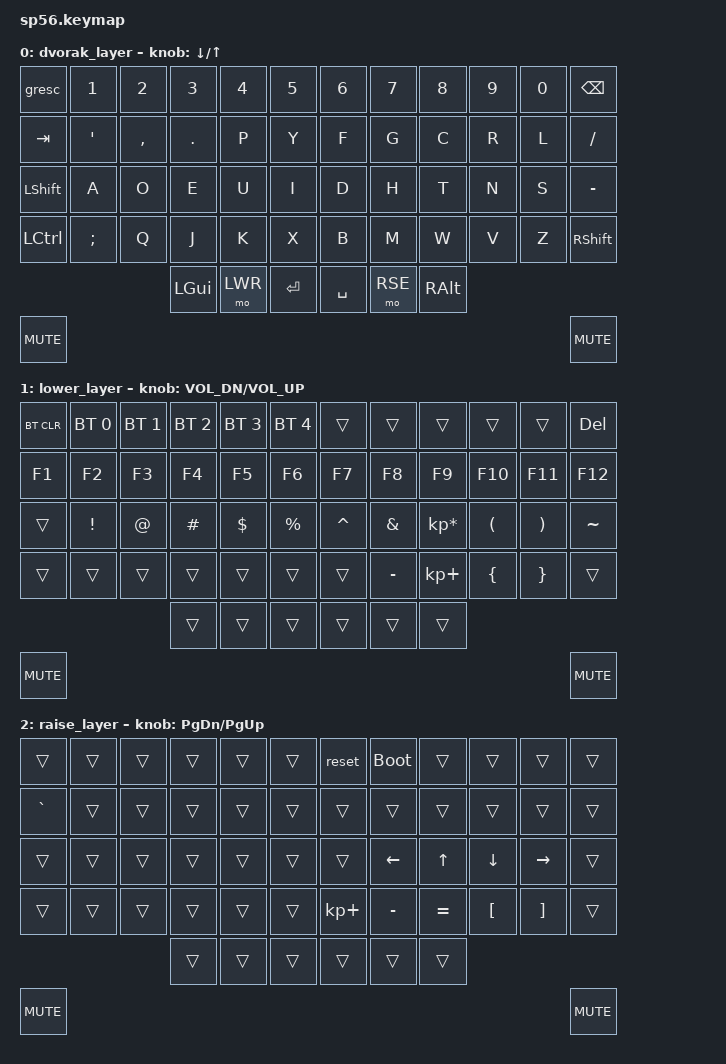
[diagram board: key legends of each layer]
/*
 * Copyright (c) 2020 Eric Lau
 *
 * SPDX-License-Identifier: MIT
 */

#include <behaviors.dtsi>
#include <dt-bindings/zmk/keys.h>
#include <dt-bindings/zmk/bt.h>

#define dvorak 0
#define LWR 1
#define RSE 2

/ {
        keymap {
                compatible = "zmk,keymap";

dvorak_layer {
// -----------------------------------------------------------------------------------------
// | GRESC |  1  |  2  |  3  |  4  |  5  |      |  6  |  7  |  8  |  9  |  O  | BKSP |
// |  TAB  |  '  |  ,  |  .  |  P  |  Y  |      |  F  |  G  |  C  |  R  |  L  | BKSP |
// | CTRL  |  A  |  O  |  E  |  U  |  I  |      |  D  |  H  |  T  |  N  |  S  |  '   |
// | SHFT  |  /  |  Q  |  J  |  K  |  X  |      |  B  |  M  |  W  |  V  |  Z  | SHFT |
//                     | GUI | LWR | SPC |      | ENT | RSE | GUI | 
// | LEFT ENCODER |                                                   | RIGHT ENCODER |

                        bindings = <
   &gresc       &kp N1   &kp N2    &kp N3   &kp N4  &kp N5         &kp N6    &kp N7  &kp N8 &kp N9 &kp N0 &kp BSPC
   &kp TAB      &kp SQT  &kp COMMA &kp DOT  &kp P   &kp Y          &kp F     &kp G   &kp C  &kp R  &kp L  &kp FSLH
   &kp LSHFT    &kp A    &kp O     &kp E    &kp U   &kp I          &kp D     &kp H   &kp T  &kp N  &kp S  &kp MINUS
   &kp LCTRL    &kp SEMI &kp Q     &kp J    &kp K   &kp X          &kp B     &kp M   &kp W  &kp V  &kp Z  &kp RSHFT
                                 &kp LGUI &mo LWR &kp RET        &kp SPACE &mo RSE &kp RALT   
   &kp C_MUTE                                                                                                &kp C_MUTE
                        >;
			sensor-bindings = <&inc_dec_kp DOWN UP>;
                };

        lower_layer {
// ------------------------------------------------------------------------------------------------------------
// | BTCLR | BT1 | BT2 |  BT3 |  BT4 |  BT5 |                   |      |       |       |      |       |       |
// |  F1   |  F2 |  F3 |  F4  |  F5  |  F6  |                   |  F7  |  F8   |  F9   |  F10 |  F11  |  F12  |
// |   `   |  !  |  @  |  #   |  $   |  %   |                   |  ^   |  &    |  *    |  (   |   )   |   ~   |
// |       |     |     |      |      |      |                   |      |  _    |  +    |  {   |   }   |  "|"  |
//                     |      |      |      |                   |      |       |       |
// | LEFT ENCODER |                                                                           | RIGHT ENCODER |
			bindings = <
&bt BT_CLR &bt BT_SEL 0 &bt BT_SEL 1 &bt BT_SEL 2 &bt BT_SEL 3 &bt BT_SEL 4                 &trans    &trans    &trans          &trans    &trans    &kp DEL
&kp F1     &kp F2       &kp F3       &kp F4       &kp F5       &kp F6                       &kp F7    &kp F8    &kp F9          &kp F10   &kp F11   &kp F12
&trans     &kp EXCL     &kp AT       &kp HASH     &kp DOLLAR   &kp PRCNT                    &kp CARET &kp AMPS  &kp KP_MULTIPLY &kp LPAR  &kp RPAR  &kp TILDE
&trans     &trans       &trans       &trans       &trans       &trans                       &trans    &kp MINUS &kp KP_PLUS     &kp LBRC  &kp RBRC  &trans
                                     &trans       &trans       &trans                       &trans    &trans    &trans
&kp C_MUTE                                                                                                                                                        &kp C_MUTE
			>;

			sensor-bindings = <&inc_dec_kp C_VOL_DN C_VOL_UP>;
		};

	raise_layer {
// ------------------------------------------------------------------------------------------------------------
// |       |     |     |      |      |      |                   |      |       |       |      |       |       |
// |   `   |  1  |  2  |  3   |  4   |  5   |                   |  6   |   7   |   8   |  9   |   0   |       |
// |   F1  |  F2 |  F3 |  F4  |  F5  |  F6  |                   |      |   <-  |   ^   |  v   |  ->   |       |
// |   F7  |  F8 |  F9 |  F10 |  F11 |  F12 |                   |  +   |   -   |   =   |  [   |   ]   |   \   |
//                     |      |      |      |                   |      |       |       |
			bindings = <
&trans    &trans &trans &trans  &trans  &trans                       &reset      &bootloader &trans    &trans   &trans    &trans
&kp GRAVE &trans &trans &trans  &trans  &trans                       &trans      &trans      &trans    &trans   &trans    &trans
&trans    &trans &trans &trans  &trans  &trans                       &trans      &kp LEFT    &kp UP  &kp DOWN   &kp RIGHT &trans
&trans    &trans &trans &trans  &trans  &trans                       &kp KP_PLUS &kp MINUS   &kp EQUAL &kp LBKT &kp RBKT  &trans
                        &trans  &trans  &trans                       &trans      &trans      &trans
&kp C_MUTE                                                                                                              &kp C_MUTE

			>;

			sensor-bindings = <&inc_dec_kp PAGE_DOWN PAGE_UP>;
		};
                
        };
};
